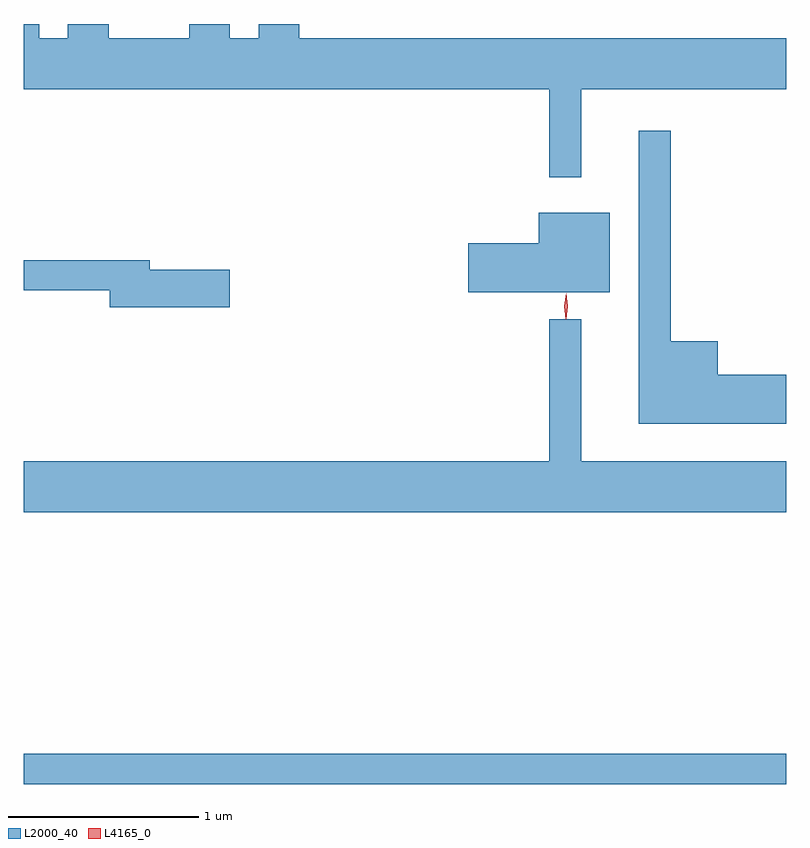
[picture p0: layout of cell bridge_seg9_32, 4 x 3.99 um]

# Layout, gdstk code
import gdstk
lib = gdstk.Library(unit=1e-6, precision=1e-09)
def R(c, l, rs):  # rectangles x0, y0, x1, y1
    for r in rs: c.add(gdstk.rectangle(r[:2], r[2:], *l))
def P(c, l, *ps):  # polygons
    for p in ps: c.add(gdstk.Polygon(p, *l))
L2000_40 = (2000, 40)
L4165_0 = (4165, 0)

bridge_seg9_32 = lib.new_cell('bridge_seg9_32')
R(bridge_seg9_32, L2000_40, [(1526.834,2063.651,1530.834,2063.809)])
P(bridge_seg9_32, L2000_40, [(1529.759,2067.296),(1530.834,2067.296),(1530.834,2067.564),(1528.279,2067.564),(1528.279,2067.638),(1528.066,2067.638),(1528.066,2067.564),(1527.914,2067.564),(1527.914,2067.638),(1527.701,2067.638),(1527.701,2067.564),(1527.279,2067.564),(1527.279,2067.638),(1527.066,2067.638),(1527.066,2067.564),(1526.914,2067.564),(1526.914,2067.638),(1526.834,2067.638),(1526.834,2067.296),(1529.591,2067.296),(1529.591,2066.833),(1529.759,2066.833)],
  [(1530.834,2065.799),(1530.474,2065.799),(1530.474,2065.974),(1530.229,2065.974),(1530.229,2067.077),(1530.061,2067.077),(1530.061,2065.541),(1530.834,2065.541)],
  [(1529.909,2066.649),(1529.536,2066.649),(1529.536,2066.489),(1529.166,2066.489),(1529.166,2066.231),(1529.909,2066.231)],
  [(1527.914,2066.349),(1527.494,2066.349),(1527.494,2066.399),(1526.834,2066.399),(1526.834,2066.241),(1527.286,2066.241),(1527.286,2066.151),(1527.914,2066.151)],
  [(1530.834,2065.344),(1529.759,2065.344),(1529.759,2066.088),(1529.591,2066.088),(1529.591,2065.344),(1526.834,2065.344),(1526.834,2065.076),(1530.834,2065.076)])
P(bridge_seg9_32, L4165_0, [(1529.678,2066.09),(1529.678,2066.09),(1529.669,2066.158),(1529.679,2066.225),(1529.68,2066.226),(1529.68,2066.225),(1529.689,2066.158),(1529.679,2066.09)],
  [(1529.678,2066.093),(1529.678,2066.093),(1529.669,2066.156),(1529.68,2066.219),(1529.68,2066.22),(1529.681,2066.219),(1529.689,2066.156),(1529.679,2066.093)])

lib.write_gds('bridge_seg9_32.gds')
